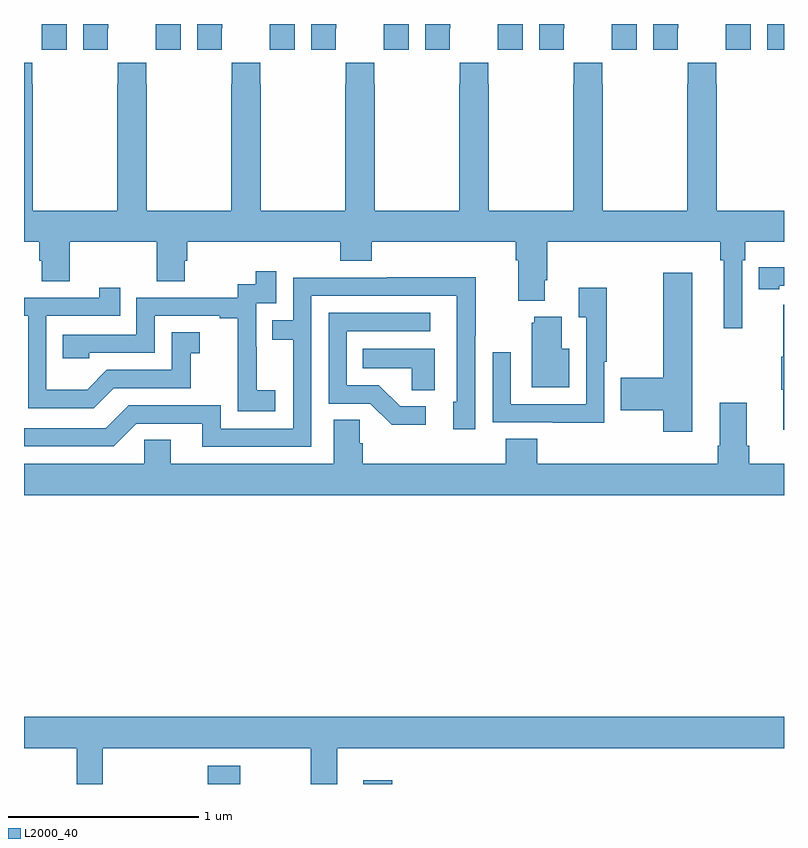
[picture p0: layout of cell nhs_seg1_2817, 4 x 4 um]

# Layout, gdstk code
import gdstk
lib = gdstk.Library(unit=1e-6, precision=1e-09)
def R(c, l, rs):  # rectangles x0, y0, x1, y1
    for r in rs: c.add(gdstk.rectangle(r[:2], r[2:], *l))
def P(c, l, *ps):  # polygons
    for p in ps: c.add(gdstk.Polygon(p, *l))
L2000_40 = (2000, 40)

nhs_seg1_2817 = lib.new_cell('nhs_seg1_2817')
R(nhs_seg1_2817, L2000_40, [(263.966,562.199,264.139,562.294), (264.785,562.199,264.938,562.219), (266.912,566.064,267,566.199)])
P(nhs_seg1_2817, L2000_40, [(266.224,566.199),(266.093,566.199),(266.093,566.176),(266.094,566.176),(266.094,566.064),(266.224,566.064)],
  [(263.224,566.199),(263.093,566.199),(263.093,566.176),(263.094,566.176),(263.094,566.064),(263.224,566.064)],
  [(266.824,566.199),(266.693,566.199),(266.693,566.176),(266.694,566.176),(266.694,566.064),(266.824,566.064)],
  [(266.442,566.176),(266.443,566.176),(266.443,566.199),(266.312,566.199),(266.312,566.064),(266.442,566.064)],
  [(265.842,566.176),(265.843,566.176),(265.843,566.199),(265.712,566.199),(265.712,566.064),(265.842,566.064)],
  [(265.624,566.199),(265.493,566.199),(265.493,566.176),(265.494,566.176),(265.494,566.064),(265.624,566.064)],
  [(265.242,566.176),(265.243,566.176),(265.243,566.199),(265.112,566.199),(265.112,566.064),(265.242,566.064)],
  [(265.024,566.199),(264.893,566.199),(264.893,566.176),(264.894,566.176),(264.894,566.064),(265.024,566.064)],
  [(264.642,566.176),(264.643,566.176),(264.643,566.199),(264.512,566.199),(264.512,566.064),(264.642,566.064)],
  [(264.424,566.199),(264.293,566.199),(264.293,566.176),(264.294,566.176),(264.294,566.064),(264.424,566.064)],
  [(264.042,566.176),(264.043,566.176),(264.043,566.199),(263.912,566.199),(263.912,566.064),(264.042,566.064)],
  [(263.824,566.199),(263.693,566.199),(263.693,566.176),(263.694,566.176),(263.694,566.064),(263.824,566.064)],
  [(263.442,566.176),(263.443,566.176),(263.443,566.199),(263.312,566.199),(263.312,566.064),(263.442,566.064)],
  [(266.781,564.956),(266.795,564.956),(266.795,565.052),(267,565.052),(267,565.216),(266.646,565.216),(266.646,565.883),(266.643,565.883),(266.643,565.996),(266.493,565.996),(266.493,565.883),(266.491,565.883),(266.491,565.216),(266.046,565.216),(266.046,565.883),(266.043,565.883),(266.043,565.996),(265.893,565.996),(265.893,565.883),(265.891,565.883),(265.891,565.216),(265.446,565.216),(265.446,565.883),(265.443,565.883),(265.443,565.996),(265.293,565.996),(265.293,565.883),(265.291,565.883),(265.291,565.216),(264.846,565.216),(264.846,565.883),(264.843,565.883),(264.843,565.996),(264.693,565.996),(264.693,565.883),(264.691,565.883),(264.691,565.216),(264.246,565.216),(264.246,565.883),(264.243,565.883),(264.243,565.996),(264.093,565.996),(264.093,565.883),(264.091,565.883),(264.091,565.216),(263.646,565.216),(263.646,565.883),(263.643,565.883),(263.643,565.996),(263.493,565.996),(263.493,565.883),(263.491,565.883),(263.491,565.216),(263.046,565.216),(263.046,565.883),(263.043,565.883),(263.043,565.996),(263,565.996),(263,565.052),(263.081,565.052),(263.081,564.954),(263.093,564.954),(263.093,564.844),(263.241,564.844),(263.241,565.052),(263.698,565.052),(263.698,564.844),(263.845,564.844),(263.845,564.954),(263.858,564.954),(263.858,565.052),(264.665,565.052),(264.665,564.953),(264.83,564.953),(264.83,565.052),(265.589,565.052),(265.589,564.956),(265.601,564.956),(265.601,564.743),(265.741,564.743),(265.741,564.85),(265.754,564.85),(265.754,565.052),(266.665,565.052),(266.665,564.956),(266.684,564.956),(266.684,564.597),(266.781,564.597)],
  [(266.974,564.822),(267,564.822),(267,564.919),(266.974,564.919),(266.974,564.918),(266.866,564.918),(266.866,564.802),(266.974,564.802)],
  [(264.322,564.271),(264.224,564.271),(264.224,564.5),(264.222,564.5),(264.222,564.729),(264.327,564.729),(264.327,564.898),(264.219,564.898),(264.219,564.828),(264.126,564.828),(264.126,564.759),(263.592,564.759),(263.592,564.564),(263.203,564.564),(263.203,564.441),(263.343,564.441),(263.343,564.468),(263.688,564.468),(263.688,564.663),(264.029,564.663),(264.029,564.651),(264.125,564.651),(264.125,564.367),(264.124,564.367),(264.124,564.161),(264.322,564.161)],
  [(266.518,564.889),(266.365,564.889),(266.365,564.338),(266.142,564.338),(266.142,564.167),(266.365,564.167),(266.365,564.054),(266.518,564.054)],
  [(264.513,564.768),(265.278,564.768),(265.278,564.21),(265.259,564.21),(265.259,564.066),(265.374,564.066),(265.374,564.559),(265.377,564.559),(265.377,564.866),(264.913,564.866),(264.913,564.864),(264.417,564.864),(264.417,564.639),(264.307,564.639),(264.307,564.538),(264.417,564.538),(264.417,564.069),(264.036,564.069),(264.036,564.192),(263.55,564.192),(263.43,564.072),(263,564.072),(263,563.976),(263.472,563.976),(263.592,564.096),(263.939,564.096),(263.939,563.973),(264.513,563.973)],
  [(266.055,564.421),(266.068,564.421),(266.068,564.811),(265.919,564.811),(265.919,564.655),(265.959,564.655),(265.959,564.198),(265.563,564.198),(265.563,564.472),(265.467,564.472),(265.467,564.102),(265.783,564.102),(265.783,564.101),(266.055,564.101)],
  [(263.473,564.282),(263.877,564.282),(263.877,564.467),(263.926,564.467),(263.926,564.577),(263.778,564.577),(263.778,564.378),(263.436,564.378),(263.332,564.274),(263.118,564.274),(263.118,564.663),(263.507,564.663),(263.507,564.811),(263.396,564.811),(263.396,564.759),(263,564.759),(263,564.663),(263.022,564.663),(263.022,564.177),(263.368,564.177)],
  [(267,564.721),(266.996,564.721),(266.996,564.449),(266.985,564.449),(266.985,564.275),(266.996,564.275),(266.996,564.063),(267,564.063)],
  [(265.114,564.186),(264.979,564.186),(264.868,564.297),(264.699,564.297),(264.699,564.582),(265.138,564.582),(265.138,564.678),(264.603,564.678),(264.603,564.201),(264.822,564.201),(264.935,564.089),(265.114,564.089)],
  [(265.87,564.49),(265.831,564.49),(265.831,564.658),(265.685,564.658),(265.685,564.627),(265.673,564.627),(265.673,564.287),(265.87,564.287)],
  [(265.162,564.49),(264.784,564.49),(264.784,564.386),(265.041,564.386),(265.041,564.271),(265.162,564.271)],
  [(267,563.884),(266.816,563.884),(266.816,563.98),(266.803,563.98),(266.803,564.205),(266.663,564.205),(266.663,563.98),(266.651,563.98),(266.651,563.884),(265.7,563.884),(265.7,564.017),(265.535,564.017),(265.535,563.884),(264.782,563.884),(264.782,563.993),(264.768,563.993),(264.768,564.116),(264.629,564.116),(264.629,563.884),(263.773,563.884),(263.773,564.011),(263.634,564.011),(263.634,563.884),(263,563.884),(263,563.72),(267,563.72)],
  [(263.414,562.388),(264.509,562.388),(264.509,562.199),(264.649,562.199),(264.649,562.388),(267,562.388),(267,562.552),(263,562.552),(263,562.388),(263.278,562.388),(263.278,562.199),(263.414,562.199)])

lib.write_gds('nhs_seg1_2817.gds')
